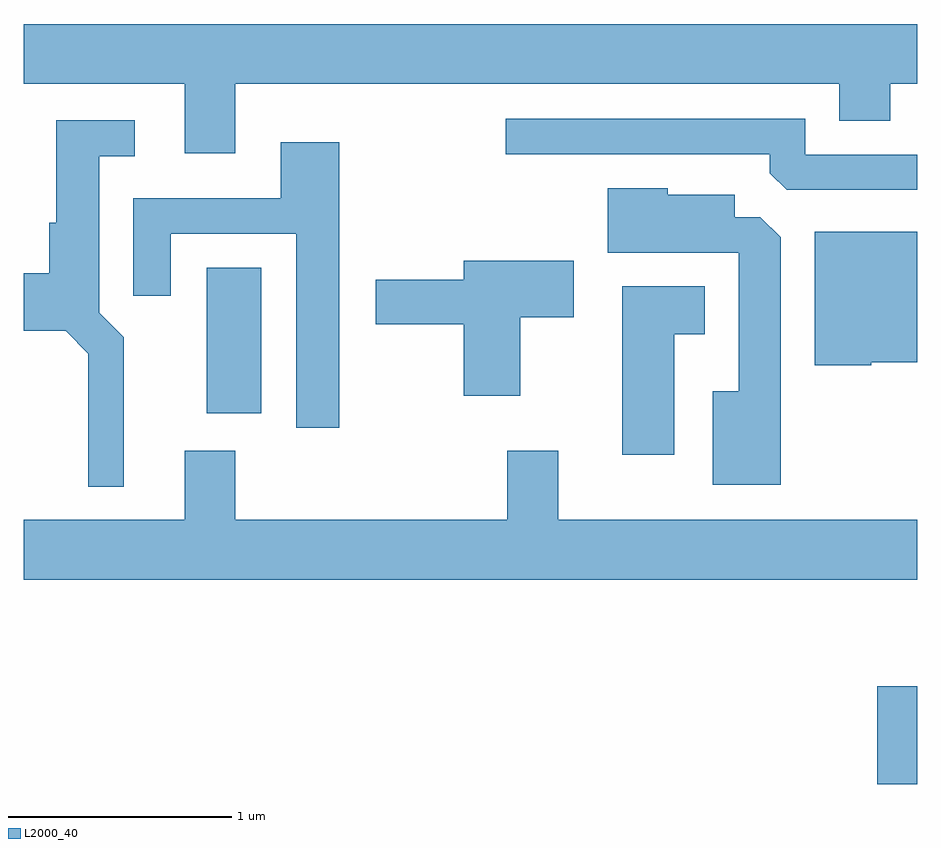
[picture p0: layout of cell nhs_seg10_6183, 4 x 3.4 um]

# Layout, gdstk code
import gdstk
lib = gdstk.Library(unit=1e-6, precision=1e-09)
def R(c, l, rs):  # rectangles x0, y0, x1, y1
    for r in rs: c.add(gdstk.rectangle(r[:2], r[2:], *l))
def P(c, l, *ps):  # polygons
    for p in ps: c.add(gdstk.Polygon(p, *l))
L2000_40 = (2000, 40)

nhs_seg10_6183 = lib.new_cell('nhs_seg10_6183')
R(nhs_seg10_6183, L2000_40, [(371.431,2148.522,371.611,2148.959), (368.431,2150.181,368.674,2150.834)])
P(nhs_seg10_6183, L2000_40, [(368.559,2151.656),(371.261,2151.656),(371.261,2151.491),(371.489,2151.491),(371.489,2151.656),(371.611,2151.656),(371.611,2151.924),(367.611,2151.924),(367.611,2151.656),(368.331,2151.656),(368.331,2151.346),(368.559,2151.346)],
  [(371.611,2151.339),(371.109,2151.339),(371.109,2151.499),(369.768,2151.499),(369.768,2151.341),(370.951,2151.341),(370.951,2151.257),(371.027,2151.181),(371.611,2151.181)],
  [(368.059,2150.522),(367.949,2150.632),(367.949,2151.331),(368.108,2151.331),(368.108,2151.494),(367.756,2151.494),(367.756,2151.034),(367.726,2151.034),(367.726,2150.809),(367.611,2150.809),(367.611,2150.551),(367.799,2150.551),(367.901,2150.449),(367.901,2149.853),(368.059,2149.853)],
  [(369.024,2151.394),(368.761,2151.394),(368.761,2151.144),(368.101,2151.144),(368.101,2150.708),(368.269,2150.708),(368.269,2150.986),(368.831,2150.986),(368.831,2150.116),(369.024,2150.116)],
  [(370.999,2150.969),(370.909,2151.059),(370.794,2151.059),(370.794,2151.159),(370.494,2151.159),(370.494,2151.189),(370.226,2151.189),(370.226,2150.901),(370.811,2150.901),(370.811,2150.279),(370.696,2150.279),(370.696,2149.861),(370.999,2149.861)],
  [(371.405,2150.411),(371.611,2150.411),(371.611,2150.994),(371.151,2150.994),(371.151,2150.396),(371.405,2150.396)],
  [(369.834,2150.611),(370.074,2150.611),(370.074,2150.864),(369.581,2150.864),(369.581,2150.779),(369.186,2150.779),(369.186,2150.581),(369.581,2150.581),(369.581,2150.261),(369.834,2150.261)],
  [(370.524,2150.536),(370.659,2150.536),(370.659,2150.749),(370.291,2150.749),(370.291,2149.996),(370.524,2149.996)],
  [(371.611,2149.704),(370.004,2149.704),(370.004,2150.014),(369.776,2150.014),(369.776,2149.704),(368.559,2149.704),(368.559,2150.014),(368.331,2150.014),(368.331,2149.704),(367.611,2149.704),(367.611,2149.436),(371.611,2149.436)])

lib.write_gds('nhs_seg10_6183.gds')
